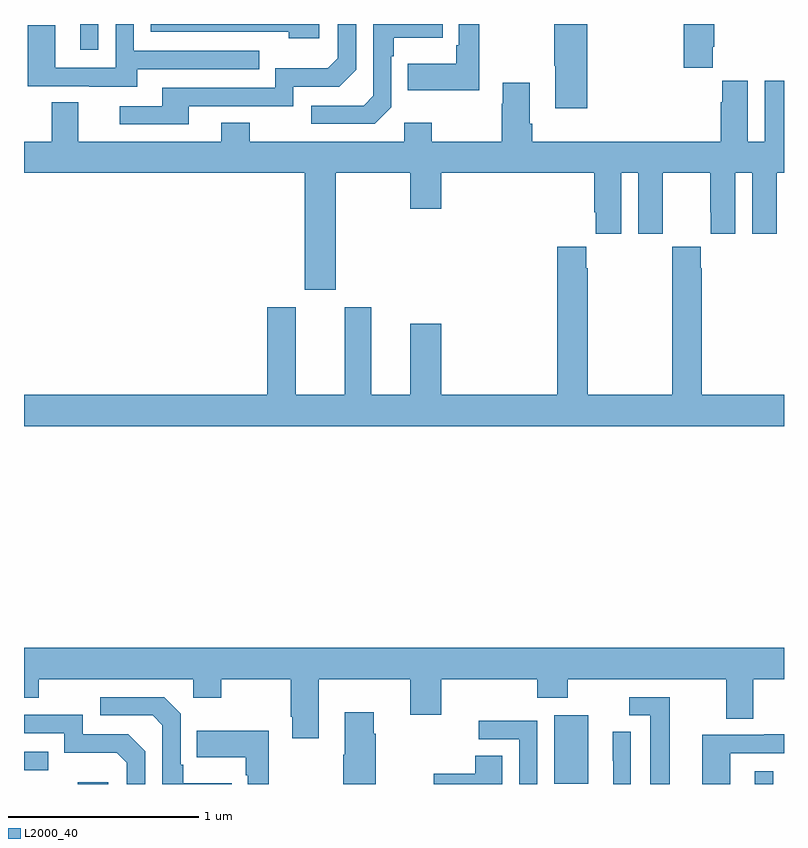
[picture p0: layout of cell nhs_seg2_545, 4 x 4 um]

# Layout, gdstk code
import gdstk
lib = gdstk.Library(unit=1e-6, precision=1e-09)
def R(c, l, rs):  # rectangles x0, y0, x1, y1
    for r in rs: c.add(gdstk.rectangle(r[:2], r[2:], *l))
def P(c, l, *ps):  # polygons
    for p in ps: c.add(gdstk.Polygon(p, *l))
L2000_40 = (2000, 40)

nhs_seg2_545 = lib.new_cell('nhs_seg2_545')
R(nhs_seg2_545, L2000_40, [(139.283,597.8,139.444,597.808), (142.847,597.8,142.944,597.868), (141.791,597.801,141.97,598.162), (139,597.873,139.127,597.969), (139.295,601.665,139.392,601.8)])
P(nhs_seg2_545, L2000_40, [(140.934,601.362),(140.934,601.631),(140.947,601.631),(140.947,601.727),(141.203,601.727),(141.203,601.8),(140.838,601.8),(140.838,601.422),(140.787,601.371),(140.511,601.371),(140.511,601.275),(140.847,601.275)],
  [(139.597,601.563),(140.237,601.563),(140.237,601.659),(139.578,601.659),(139.578,601.8),(139.482,601.8),(139.482,601.569),(139.164,601.569),(139.164,601.793),(139.019,601.793),(139.019,601.473),(139.343,601.473),(139.343,601.469),(139.597,601.469)],
  [(141.965,601.8),(141.79,601.8),(141.79,601.579),(141.797,601.579),(141.797,601.356),(141.965,601.356)],
  [(139.867,601.368),(140.418,601.368),(140.418,601.47),(140.658,601.47),(140.748,601.56),(140.748,601.8),(140.652,601.8),(140.652,601.62),(140.599,601.567),(140.322,601.567),(140.322,601.464),(139.727,601.464),(139.727,601.368),(139.503,601.368),(139.503,601.272),(139.867,601.272)],
  [(141.397,601.8),(141.288,601.8),(141.288,601.687),(141.276,601.687),(141.276,601.591),(141.019,601.591),(141.019,601.451),(141.397,601.451)],
  [(140.554,601.8),(139.668,601.8),(139.668,601.758),(140.393,601.758),(140.393,601.724),(140.554,601.724)],
  [(142.625,601.681),(142.632,601.681),(142.632,601.8),(142.472,601.8),(142.472,601.569),(142.625,601.569)],
  [(141.674,601.276),(141.661,601.276),(141.661,601.492),(141.521,601.492),(141.521,601.379),(141.514,601.379),(141.514,601.18),(141.147,601.18),(141.147,601.279),(141,601.279),(141,601.18),(140.187,601.18),(140.187,601.279),(140.039,601.279),(140.039,601.18),(139.285,601.18),(139.285,601.388),(139.145,601.388),(139.145,601.18),(139,601.18),(139,601.016),(140.477,601.016),(140.477,600.402),(140.641,600.402),(140.641,601.016),(141.032,601.016),(141.032,600.828),(141.196,600.828),(141.196,601.016),(142.001,601.016),(142.001,600.808),(142.01,600.808),(142.01,600.696),(142.144,600.696),(142.144,601.016),(142.232,601.016),(142.232,600.696),(142.362,600.696),(142.362,600.808),(142.363,600.808),(142.363,601.016),(142.613,601.016),(142.613,600.808),(142.614,600.808),(142.614,600.696),(142.744,600.696),(142.744,601.016),(142.832,601.016),(142.832,600.696),(142.962,600.696),(142.962,600.808),(142.963,600.808),(142.963,601.016),(143,601.016),(143,601.501),(142.898,601.501),(142.898,601.18),(142.81,601.18),(142.81,601.501),(142.676,601.501),(142.676,601.388),(142.667,601.388),(142.667,601.18),(141.674,601.18)],
  [(143,599.848),(142.566,599.848),(142.566,600.515),(142.563,600.515),(142.563,600.628),(142.413,600.628),(142.413,600.515),(142.411,600.515),(142.411,599.848),(141.966,599.848),(141.966,600.515),(141.959,600.515),(141.959,600.628),(141.806,600.628),(141.806,599.848),(141.196,599.848),(141.196,600.223),(141.032,600.223),(141.032,599.848),(140.827,599.848),(140.827,600.31),(140.687,600.31),(140.687,599.848),(140.431,599.848),(140.431,600.31),(140.279,600.31),(140.279,599.848),(139,599.848),(139,599.684),(143,599.684)],
  [(140.551,598.352),(141.032,598.352),(141.032,598.164),(141.196,598.164),(141.196,598.352),(141.701,598.352),(141.701,598.253),(141.861,598.253),(141.861,598.352),(142.697,598.352),(142.697,598.144),(142.837,598.144),(142.837,598.352),(143,598.352),(143,598.516),(139,598.516),(139,598.253),(139.077,598.253),(139.077,598.352),(139.89,598.352),(139.89,598.253),(140.037,598.253),(140.037,598.352),(140.404,598.352),(140.404,598.153),(140.411,598.153),(140.411,598.041),(140.551,598.041)],
  [(142.399,598.257),(142.185,598.257),(142.185,598.161),(142.295,598.161),(142.295,597.8),(142.399,597.8)],
  [(140.093,597.805),(139.837,597.805),(139.837,597.901),(139.824,597.901),(139.824,598.17),(139.737,598.257),(139.401,598.257),(139.401,598.161),(139.677,598.161),(139.728,598.11),(139.728,597.8),(140.093,597.8)],
  [(140.85,598.064),(140.842,598.064),(140.842,598.177),(140.687,598.177),(140.687,597.953),(140.68,597.953),(140.68,597.8),(140.85,597.8)],
  [(139.638,597.972),(139.548,598.062),(139.308,598.062),(139.308,598.164),(139,598.164),(139,598.068),(139.212,598.068),(139.212,597.965),(139.489,597.965),(139.542,597.912),(139.542,597.8),(139.638,597.8)],
  [(141.702,598.134),(141.393,598.134),(141.393,598.035),(141.606,598.035),(141.606,597.8),(141.702,597.8)],
  [(140.287,598.081),(139.909,598.081),(139.909,597.941),(140.166,597.941),(140.166,597.845),(140.178,597.845),(140.178,597.8),(140.287,597.8)],
  [(142.194,598.076),(142.098,598.076),(142.098,597.922),(142.1,597.922),(142.1,597.8),(142.194,597.8)],
  [(142.716,597.963),(143,597.963),(143,598.063),(142.895,598.063),(142.895,598.059),(142.571,598.059),(142.571,597.8),(142.716,597.8)],
  [(141.517,597.95),(141.374,597.95),(141.374,597.855),(141.156,597.855),(141.156,597.8),(141.517,597.8)])

lib.write_gds('nhs_seg2_545.gds')
